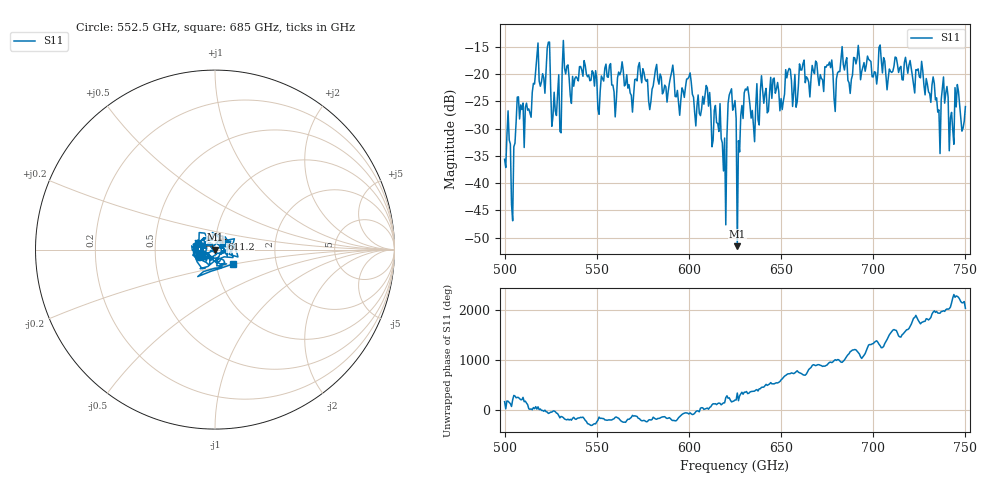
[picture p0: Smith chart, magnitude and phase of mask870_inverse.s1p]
!Created with skrf (http://scikit-rf.org).
# GHz S MA R 50.0
!freq magS11 angS11
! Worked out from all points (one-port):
!   401 points, 500 GHz to 750 GHz, reference 50 ohm
!   lowest |S11| = -51.6 dB at 626.2 GHz (marker M1), VSWR 1.01, Z = 50.3 - j0.0697 ohm
!   |S11| at or under -10 dB: start of sweep to end of sweep
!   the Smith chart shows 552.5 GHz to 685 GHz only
!   S11 on the Smith chart (normalised r, x): 552.5 GHz: 0.83, -0.06; 611.2 GHz: 1.07, +0.12; 685 GHz: 1.21, -0.20
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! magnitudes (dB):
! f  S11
! 500 GHz  -35.6
! 504.4 GHz  -46.9
! 507.5 GHz  -24.2
! 513.8 GHz  -27.1
! 516.9 GHz  -19.2
! 523.8 GHz  -14.2
! 526.9 GHz  -23.3
! 531.2 GHz  -19.0
! 533.1 GHz  -20.0
! 552.5 GHz  -20.4
! 562.5 GHz  -20.2
! 593.8 GHz  -23.0
! 611.2 GHz  -23.4
! 618.8 GHz  -37.8
! 622.5 GHz  -23.3
! 625 GHz  -24.9
! 626.2 GHz  -51.6
! 631.2 GHz  -22.9
! 635 GHz  -29.4
! 656.2 GHz  -25.9
! 685 GHz  -17.8
! 687.5 GHz  -23.6
! 718.8 GHz  -19.9
! 735 GHz  -27.0
! 739.4 GHz  -23.4
! 742.5 GHz  -27.0
! 745.6 GHz  -21.9
! 750 GHz  -26.0
